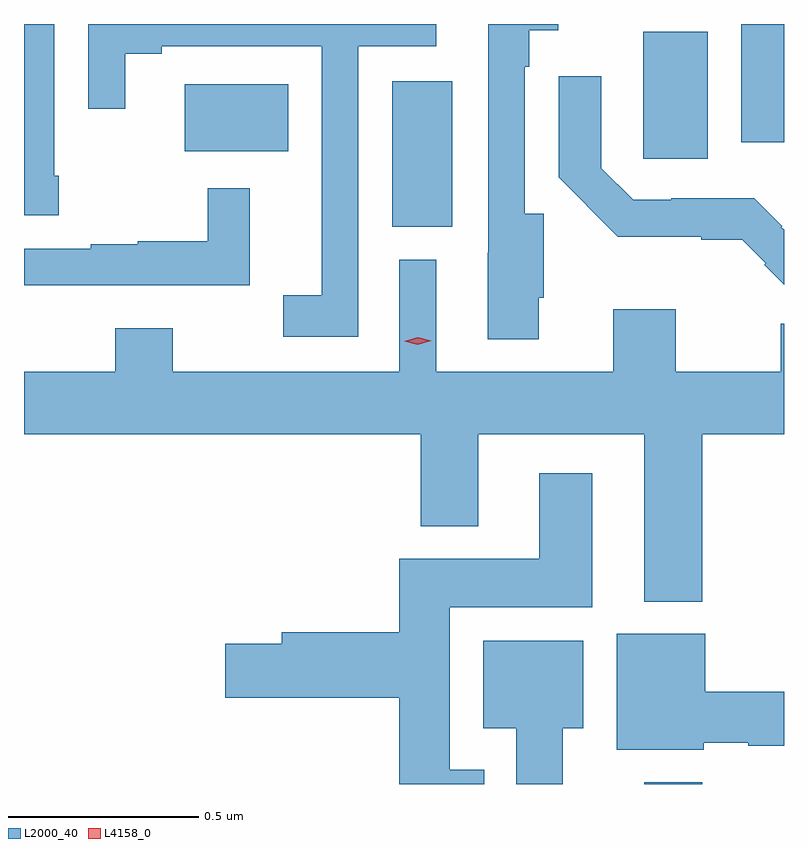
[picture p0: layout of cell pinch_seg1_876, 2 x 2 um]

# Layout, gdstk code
import gdstk
lib = gdstk.Library(unit=1e-6, precision=1e-09)
def R(c, l, rs):  # rectangles x0, y0, x1, y1
    for r in rs: c.add(gdstk.rectangle(r[:2], r[2:], *l))
def P(c, l, *ps):  # polygons
    for p in ps: c.add(gdstk.Polygon(p, *l))
L2000_40 = (2000, 40)
L4158_0 = (4158, 0)

pinch_seg1_876 = lib.new_cell('pinch_seg1_876')
R(pinch_seg1_876, L2000_40, [(462.809,513.515,462.962,513.52), (462.146,514.981,462.304,515.365), (462.806,515.16,462.976,515.494), (461.6,515.18,461.872,515.356), (463.064,515.204,463.177,515.515)])
P(pinch_seg1_876, L2000_40, [(462.532,514.795),(462.545,514.795),(462.545,515.016),(462.495,515.016),(462.495,515.402),(462.507,515.402),(462.507,515.499),(462.583,515.499),(462.583,515.515),(462.399,515.515),(462.399,514.913),(462.398,514.913),(462.398,514.685),(462.532,514.685)],
  [(461.269,515.116),(461.256,515.116),(461.256,515.515),(461.177,515.515),(461.177,515.012),(461.269,515.012)],
  [(462.057,515.457),(462.262,515.457),(462.262,515.515),(461.346,515.515),(461.346,515.292),(461.443,515.292),(461.443,515.437),(461.539,515.437),(461.539,515.457),(461.961,515.457),(461.961,515.084),(461.96,515.084),(461.96,514.801),(461.859,514.801),(461.859,514.692),(462.057,514.692)],
  [(463.177,514.973),(463.17,514.98),(463.173,514.983),(463.099,515.057),(462.88,515.057),(462.88,515.052),(462.78,515.052),(462.696,515.136),(462.696,515.377),(462.584,515.377),(462.584,515.112),(462.658,515.038),(462.658,515.037),(462.739,514.955),(462.959,514.955),(462.959,514.947),(463.067,514.947),(463.129,514.885),(463.125,514.881),(463.177,514.829)],
  [(461.771,515.083),(461.661,515.083),(461.661,514.943),(461.476,514.943),(461.476,514.936),(461.353,514.936),(461.353,514.923),(461.177,514.923),(461.177,514.827),(461.771,514.827)],
  [(462.962,514.436),(463.177,514.436),(463.177,514.726),(463.169,514.726),(463.169,514.6),(462.892,514.6),(462.892,514.765),(462.728,514.765),(462.728,514.6),(462.262,514.6),(462.262,514.895),(462.165,514.895),(462.165,514.6),(461.569,514.6),(461.569,514.714),(461.417,514.714),(461.417,514.6),(461.177,514.6),(461.177,514.436),(462.221,514.436),(462.221,514.193),(462.373,514.193),(462.373,514.436),(462.809,514.436),(462.809,513.995),(462.962,513.995)],
  [(462.388,513.553),(462.298,513.553),(462.298,513.98),(462.673,513.98),(462.673,514.333),(462.533,514.333),(462.533,514.108),(462.164,514.108),(462.164,513.914),(461.855,513.914),(461.855,513.884),(461.706,513.884),(461.706,513.742),(462.164,513.742),(462.164,513.515),(462.388,513.515)],
  [(462.966,513.623),(463.083,513.623),(463.083,513.616),(463.177,513.616),(463.177,513.758),(462.97,513.758),(462.97,513.91),(462.737,513.91),(462.737,513.605),(462.966,513.605)],
  [(462.595,513.662),(462.649,513.662),(462.649,513.892),(462.386,513.892),(462.386,513.662),(462.473,513.662),(462.473,513.515),(462.595,513.515)])
P(pinch_seg1_876, L4158_0, [(462.213,514.671),(462.177,514.68),(462.177,514.68),(462.177,514.68),(462.213,514.691),(462.249,514.681),(462.249,514.681),(462.249,514.681)])

lib.write_gds('pinch_seg1_876.gds')
